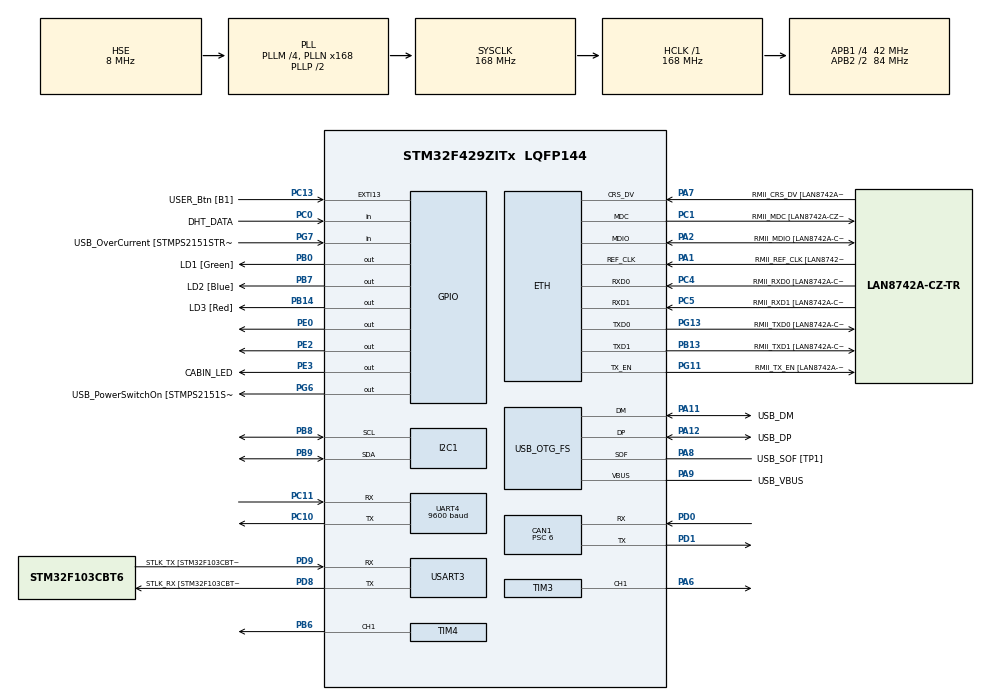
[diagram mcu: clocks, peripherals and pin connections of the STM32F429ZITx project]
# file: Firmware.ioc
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CAN1.BS1=CAN_BS1_11TQ
CAN1.BS2=CAN_BS2_2TQ
CAN1.CalculateBaudRate=500000
CAN1.CalculateTimeBit=2000
CAN1.CalculateTimeQuantum=142.85714285714286
CAN1.Prescaler=6
ETH.MediaInterface=HAL_ETH_RMII_MODE
ETH.PHY_Name=LAN8742A_PHY_ADDRESS
ETH.PHY_Value=0
ETH.PhyAddress=0
Mcu.Family=STM32F4
Mcu.Name=STM32F429ZITx
Mcu.Package=LQFP144
NVIC.CAN1_RX0_IRQn=true\:0\:0\:false\:false\:true\:true\:true\:true
NVIC.PriorityGroup=NVIC_PRIORITYGROUP_4
NVIC.UART4_IRQn=true\:0\:0\:false\:false\:true\:true\:true\:true
PA1.GPIO_Label=RMII_REF_CLK [LAN8742A-CZ-TR_REFCLK0]
PA1.Mode=RMII
PA1.Signal=ETH_REF_CLK
PA10.GPIO_Label=USB_ID
PA10.Signal=USB_OTG_FS_ID
PA11.GPIO_Label=USB_DM
PA11.Mode=Device_Only
PA11.Signal=USB_OTG_FS_DM
PA12.GPIO_Label=USB_DP
PA12.Mode=Device_Only
PA12.Signal=USB_OTG_FS_DP
PA13.GPIO_Label=TMS
PA13.Mode=Serial_Wire
PA13.Signal=SYS_JTMS-SWDIO
PA14.GPIO_Label=TCK
PA14.Mode=Serial_Wire
PA14.Signal=SYS_JTCK-SWCLK
PA2.GPIO_Label=RMII_MDIO [LAN8742A-CZ-TR_MDIO]
PA2.Mode=RMII
PA2.Signal=ETH_MDIO
PA6.Signal=S_TIM3_CH1
PA7.GPIO_Label=RMII_CRS_DV [LAN8742A-CZ-TR_CRS_DV]
PA7.Mode=RMII
PA7.Signal=ETH_CRS_DV
PA8.GPIO_Label=USB_SOF [TP1]
PA8.Mode=Activate_SOF_FS
PA8.Signal=USB_OTG_FS_SOF
PA9.GPIO_Label=USB_VBUS
PA9.Mode=Activate_VBUS
PA9.Signal=USB_OTG_FS_VBUS
PB0.GPIO_Label=LD1 [Green]
PB0.Signal=GPIO_Output
PB13.GPIO_Label=RMII_TXD1 [LAN8742A-CZ-TR_TXD1]
PB13.Mode=RMII
PB13.Signal=ETH_TXD1
PB14.GPIO_Label=LD3 [Red]
PB14.Signal=GPIO_Output
PB6.Signal=S_TIM4_CH1
PB7.GPIO_Label=LD2 [Blue]
PB7.Signal=GPIO_Output
PB8.Mode=I2C
PB8.Signal=I2C1_SCL
PB9.Mode=I2C
PB9.Signal=I2C1_SDA
PC0.GPIO_Label=DHT_DATA
PC0.GPIO_PuPd=GPIO_PULLUP
PC0.Signal=GPIO_Input
PC1.GPIO_Label=RMII_MDC [LAN8742A-CZ-TR_MDC]
PC1.Mode=RMII
PC1.Signal=ETH_MDC
PC10.Mode=Asynchronous
PC10.Signal=UART4_TX
PC11.Mode=Asynchronous
PC11.Signal=UART4_RX
PC13.GPIO_Label=USER_Btn [B1]
PC13.Signal=GPXTI13
PC14/OSC32_IN.Mode=LSE-External-Oscillator
PC14/OSC32_IN.Signal=RCC_OSC32_IN
PC15/OSC32_OUT.Mode=LSE-External-Oscillator
PC15/OSC32_OUT.Signal=RCC_OSC32_OUT
PC4.GPIO_Label=RMII_RXD0 [LAN8742A-CZ-TR_RXD0]
PC4.Mode=RMII
PC4.Signal=ETH_RXD0
PC5.GPIO_Label=RMII_RXD1 [LAN8742A-CZ-TR_RXD1]
PC5.Mode=RMII
PC5.Signal=ETH_RXD1
PD0.Mode=CAN_Activate
PD0.Signal=CAN1_RX
PD1.Mode=CAN_Activate
PD1.Signal=CAN1_TX
PD8.GPIO_Label=STLK_RX [STM32F103CBT6_PA3]
PD8.Mode=Asynchronous
PD8.Signal=USART3_TX
PD9.GPIO_Label=STLK_TX [STM32F103CBT6_PA2]
PD9.Mode=Asynchronous
PD9.Signal=USART3_RX
PE0.Signal=GPIO_Output
PE2.Signal=GPIO_Output
PE3.GPIO_Label=CABIN_LED
PE3.Signal=GPIO_Output
PG11.GPIO_Label=RMII_TX_EN [LAN8742A-CZ-TR_TXEN]
PG11.Mode=RMII
PG11.Signal=ETH_TX_EN
PG13.GPIO_Label=RMII_TXD0 [LAN8742A-CZ-TR_TXD0]
PG13.Mode=RMII
PG13.Signal=ETH_TXD0
PG6.GPIO_Label=USB_PowerSwitchOn [STMPS2151STR_EN]
PG6.Signal=GPIO_Output
PG7.GPIO_Label=USB_OverCurrent [STMPS2151STR_FAULT]
PG7.Signal=GPIO_Input
PH0/OSC_IN.GPIO_Label=MCO [STM32F103CBT6_PA8]
PH0/OSC_IN.Mode=HSE-External-Clock-Source
PH0/OSC_IN.Signal=RCC_OSC_IN
PH1/OSC_OUT.Mode=HSE-External-Clock-Source
PH1/OSC_OUT.Signal=RCC_OSC_OUT
ProjectManager.HeapSize=0x200
ProjectManager.StackSize=0x400
ProjectManager.TargetToolchain=STM32CubeIDE
RCC.48MHZClocksFreq_Value=48000000
RCC.AHBFreq_Value=168000000
RCC.APB1CLKDivider=RCC_HCLK_DIV4
RCC.APB1Freq_Value=42000000
RCC.APB1TimFreq_Value=84000000
RCC.APB2CLKDivider=RCC_HCLK_DIV2
RCC.APB2Freq_Value=84000000
RCC.APB2TimCLKDivider=2
RCC.APB2TimFreq_Value=168000000
RCC.CortexFreq_Value=168000000
RCC.HCLKFreq_Value=168000000
RCC.HSE_VALUE=8000000
RCC.HSI_VALUE=16000000
RCC.PLLM=4
RCC.PLLMUL=RCC_PLL_MUL9
RCC.PLLN=168
RCC.PLLQ=7
RCC.PRESCALERUSB=RCC_USBCLKSOURCE_PLL_DIV1_5
RCC.SYSCLKFreq_VALUE=168000000
RCC.SYSCLKSource=RCC_SYSCLKSOURCE_PLLCLK
RCC.SYSCLKSourceVirtual=RCC_SYSCLKSOURCE_PLLCLK
RCC.USBFreq_Value=48000000
RCC.VCOOutputFreq_Value=336000000
SH.S_TIM3_CH1.0=TIM3_CH1,PWM Generation1 CH1
SH.S_TIM4_CH1.0=TIM4_CH1,PWM Generation1 CH1
TIM3.Channel-PWM\ Generation1\ CH1=TIM_CHANNEL_1
TIM3.Period=3359
TIM4.Channel-PWM\ Generation1\ CH1=TIM_CHANNEL_1
TIM4.Period=999
TIM4.Prescaler=83
UART4.BaudRate=9600
UART4.VirtualMode=Asynchronous
USART3.VirtualMode=VM_ASYNC
USB_OTG_FS.VirtualMode=Device_Only
VP_TIM3_VS_ClockSourceINT.Mode=Internal
VP_TIM4_VS_ClockSourceINT.Mode=Internal
board=NUCLEO-F429ZI

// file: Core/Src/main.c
/* USER CODE BEGIN Header */
/**
  ******************************************************************************
  * @file           : main.c
  * @brief          : Main program body
  ******************************************************************************
  * @attention
  *
  * Copyright (c) 2026 STMicroelectronics.
  * All rights reserved.
  *
  * This software is licensed under terms that can be found in the LICENSE file
  * in the root directory of this software component.
  * If no LICENSE file comes with this software, it is provided AS-IS.
  *
  ******************************************************************************
  */
/* USER CODE END Header */
#include "main.h"
#include "string.h"

/* USER CODE BEGIN Includes */
#include "fw_common.h"
#include "fw_can.h"
#include "fw_sensor.h"
#include "fw_control.h"
#include "bsp_fw.h"
/* USER CODE END Includes */

/* USER CODE BEGIN PD */
#define INTERVAL_DHT_MS         2000u
#define INTERVAL_FAN_MS          500u
#define INTERVAL_BH1750_MS       500u
#define INTERVAL_PMS_MS         2000u
#define INTERVAL_SEAT_MS         100u
#define INTERVAL_LIGHT_MS        500u
#define INTERVAL_CAN_TX_MS      2000u
#define INTERVAL_STATUS_MS       500u

/* [MOD] 통합 시연 빌드: 로컬 테스트 모드 OFF.
 * 1로 두면 FW_TEST_CASE에 따라 CAN 수신값을 무시하고 상태를 강제 주입하므로
 * 통합 테스트 전 반드시 0인지 확인할 것. */
#define FW_LOCAL_TEST_MODE  0u
#define FW_TEST_CASE        0u
/* USER CODE END PD */

ETH_TxPacketConfig TxConfig;
ETH_DMADescTypeDef  DMARxDscrTab[ETH_RX_DESC_CNT]; /* Ethernet Rx DMA Descriptors */
ETH_DMADescTypeDef  DMATxDscrTab[ETH_TX_DESC_CNT]; /* Ethernet Tx DMA Descriptors */

CAN_HandleTypeDef hcan1;

ETH_HandleTypeDef heth;

I2C_HandleTypeDef hi2c1;

TIM_HandleTypeDef htim3;
TIM_HandleTypeDef htim4;

UART_HandleTypeDef huart4;
UART_HandleTypeDef huart3;

PCD_HandleTypeDef hpcd_USB_OTG_FS;

/* USER CODE BEGIN PV */
volatile FW_SharedData_t g_fw = {0};
/* USER CODE END PV */

void SystemClock_Config(void);
static void MX_GPIO_Init(void);
static void MX_ETH_Init(void);
static void MX_USART3_UART_Init(void);
static void MX_USB_OTG_FS_PCD_Init(void);
static void MX_I2C1_Init(void);
static void MX_TIM3_Init(void);
static void MX_UART4_Init(void);
static void MX_TIM4_Init(void);
static void MX_CAN1_Init(void);

int main(void)
{

  /* MCU Configuration--------------------------------------------------------*/

  /* Reset of all peripherals, Initializes the Flash interface and the Systick. */
	HAL_Init();

  /* Configure the system clock */
  SystemClock_Config();

  /* Initialize all configured peripherals */
  MX_GPIO_Init();
  MX_ETH_Init();
  MX_USART3_UART_Init();
  MX_USB_OTG_FS_PCD_Init();
  MX_I2C1_Init();
  MX_TIM3_Init();
  MX_UART4_Init();
  MX_TIM4_Init();
  MX_CAN1_Init();
  /* USER CODE BEGIN 2 */
  FW_Sensor_Init();

  HAL_TIM_PWM_Start(&htim3, TIM_CHANNEL_1);      /* 팬: 25kHz */
  HAL_TIM_PWM_Start(&htim4, TIM_CHANNEL_1);      /* 좌석: 1kHz */

  BSP_PWM_Fan_SetDuty(0u);
  BSP_Seat_Stop();
  BSP_GPIO_LED_Cabin_Write(0u);

  g_fw.temp_target_x10         = FAN_TARGET_TEMP_X10;
  g_fw.light_lux_threshold_x10 = LIGHT_THRESHOLD_X10;
  g_fw.fan_mode                = FAN_AUTO;
  g_fw.ignition_state          = IGN_OFF;
  g_fw.operation_state         = OP_STANDBY;

  /* 기본값 설정 후 CAN 필터와 수신 인터럽트를 활성화한다. */
  FW_CAN_Init();

#if FW_LOCAL_TEST_MODE

#if FW_TEST_CASE == 1u
  /* RUNNING: 팬·LED·좌석 시험 */
  g_fw.ignition_state  = IGN_ON;
  g_fw.operation_state = OP_RUNNING;

  g_fw.fan_mode         = FAN_MANUAL;
  g_fw.fan_manual_level = 2u;

  g_fw.light_mode = 0u;
  g_fw.light_on   = 1u;

  g_fw.seat_cmd_seq++;
  g_fw.seat_direction   = 1u;
  g_fw.seat_pwm_duty    = 40u;
  g_fw.seat_duration_ms = 1000u;
  g_fw.seat_cmd_seq++;

#elif FW_TEST_CASE == 2u
  /* PARKING + PIR 시험 */
  g_fw.ignition_state  = IGN_OFF;
  g_fw.operation_state = OP_PARKING;
  g_fw.ignition_state  = IGN_OFF;
  g_fw.operation_state = OP_PARKING;

#elif FW_TEST_CASE == 3u
  /* ALARM 시험 */
  g_fw.ignition_state  = IGN_OFF;
  g_fw.operation_state = OP_ALARM;

#elif FW_TEST_CASE == 4u
  /* 승하차 상태 시험 */
  g_fw.ignition_state  = IGN_ON;
  g_fw.operation_state = OP_STOPPED_BOARDING;
  g_fw.fan_mode        = FAN_AUTO;

#endif
#endif

  /* DHT22 전원 안정화 */
  HAL_Delay(2000u);

  /* USER CODE BEGIN 2 */
  FW_Sensor_Init();

  HAL_TIM_PWM_Start(&htim3, TIM_CHANNEL_1);
  HAL_TIM_PWM_Start(&htim4, TIM_CHANNEL_1);

  BSP_PWM_Fan_SetDuty(0u);
  BSP_Seat_Stop();
  BSP_GPIO_LED_Cabin_Write(0u);

  /* USER CODE END 2 */

  /* Infinite loop */
  /* USER CODE BEGIN WHILE */
  uint32_t tick_dht    = 0u;
  uint32_t tick_fan    = 0u;
  uint32_t tick_bh     = 0u;
  uint32_t tick_pms    = 0u;
  uint32_t tick_seat   = 0u;
  uint32_t tick_light  = 0u;
  uint32_t tick_can_tx = 0u;
  uint32_t tick_status = 0u;

  while (1)
  {
    /* USER CODE END WHILE */

    /* USER CODE BEGIN 3 */

    uint32_t now = HAL_GetTick();

    if ((now - tick_dht) >= INTERVAL_DHT_MS)
    {
      FW_DHT22_Update();
      tick_dht = now;
    }

    if ((now - tick_fan) >= INTERVAL_FAN_MS)
    {
      FW_FanControl_Update();
      tick_fan = now;
    }

    if ((now - tick_bh) >= INTERVAL_BH1750_MS)
    {
      FW_BH1750_Update();
      tick_bh = now;
    }

    if ((now - tick_pms) >= INTERVAL_PMS_MS)
    {
      FW_PMS7003_Update();
      tick_pms = now;
    }

    if ((now - tick_seat) >= INTERVAL_SEAT_MS)
    {
      FW_SeatControl_Update();
      tick_seat = now;
    }

    if ((now - tick_light) >= INTERVAL_LIGHT_MS)
    {
      FW_LightControl_Update();
      tick_light = now;
    }

    if ((now - tick_can_tx) >= INTERVAL_CAN_TX_MS)
    {
      FW_CAN_SendEnv();
      FW_CAN_SendDust();
      tick_can_tx = now;
    }

    if ((now - tick_status) >= INTERVAL_STATUS_MS)
    {
      FW_CAN_SendStatus();
      tick_status = now;
    }

  }
  /* USER CODE END 3 */
}

void SystemClock_Config(void)
{
  RCC_OscInitTypeDef RCC_OscInitStruct = {0};
  RCC_ClkInitTypeDef RCC_ClkInitStruct = {0};

  /** Configure the main internal regulator output voltage
  */
  __HAL_RCC_PWR_CLK_ENABLE();
  __HAL_PWR_VOLTAGESCALING_CONFIG(PWR_REGULATOR_VOLTAGE_SCALE1);

  /** Initializes the RCC Oscillators according to the specified parameters
  * in the RCC_OscInitTypeDef structure.
  */
  RCC_OscInitStruct.OscillatorType = RCC_OSCILLATORTYPE_HSE;
  RCC_OscInitStruct.HSEState = RCC_HSE_BYPASS;
  RCC_OscInitStruct.PLL.PLLState = RCC_PLL_ON;
  RCC_OscInitStruct.PLL.PLLSource = RCC_PLLSOURCE_HSE;
  RCC_OscInitStruct.PLL.PLLM = 4;
  RCC_OscInitStruct.PLL.PLLN = 168;
  RCC_OscInitStruct.PLL.PLLP = RCC_PLLP_DIV2;
  RCC_OscInitStruct.PLL.PLLQ = 7;
  if (HAL_RCC_OscConfig(&RCC_OscInitStruct) != HAL_OK)
  {
    Error_Handler();
  }

  /** Initializes the CPU, AHB and APB buses clocks
  */
  RCC_ClkInitStruct.ClockType = RCC_CLOCKTYPE_HCLK|RCC_CLOCKTYPE_SYSCLK
                              |RCC_CLOCKTYPE_PCLK1|RCC_CLOCKTYPE_PCLK2;
  RCC_ClkInitStruct.SYSCLKSource = RCC_SYSCLKSOURCE_PLLCLK;
  RCC_ClkInitStruct.AHBCLKDivider = RCC_SYSCLK_DIV1;
  RCC_ClkInitStruct.APB1CLKDivider = RCC_HCLK_DIV4;
  RCC_ClkInitStruct.APB2CLKDivider = RCC_HCLK_DIV2;

  if (HAL_RCC_ClockConfig(&RCC_ClkInitStruct, FLASH_LATENCY_5) != HAL_OK)
  {
    Error_Handler();
  }
}

static void MX_CAN1_Init(void)
{

  hcan1.Instance = CAN1;
  hcan1.Init.Prescaler = 6;
  hcan1.Init.Mode = CAN_MODE_NORMAL;
  hcan1.Init.SyncJumpWidth = CAN_SJW_1TQ;
  hcan1.Init.TimeSeg1 = CAN_BS1_11TQ;
  hcan1.Init.TimeSeg2 = CAN_BS2_2TQ;
  hcan1.Init.TimeTriggeredMode = DISABLE;
  /* 부팅 순서 문제(코드 관점) 완화 - RTOS 보드와 동일한 변경:
     - AutoBusOff=ENABLE : F/W가 RPi4보다 먼저 켜져 ACK 없이 송신하다 bus-off에 빠져도
       자동으로 복구한다.
     - AutoRetransmission=ENABLE : ACK 실패한 프레임을 자동 재전송한다. */
  hcan1.Init.AutoBusOff = ENABLE;
  hcan1.Init.AutoWakeUp = DISABLE;
  hcan1.Init.AutoRetransmission = ENABLE;
  hcan1.Init.ReceiveFifoLocked = DISABLE;
  hcan1.Init.TransmitFifoPriority = DISABLE;
  if (HAL_CAN_Init(&hcan1) != HAL_OK)
  {
    Error_Handler();
  }

}

static void MX_ETH_Init(void)
{

   static uint8_t MACAddr[6];

  heth.Instance = ETH;
  MACAddr[0] = 0x00;
  MACAddr[1] = 0x80;
  MACAddr[2] = 0xE1;
  MACAddr[3] = 0x00;
  MACAddr[4] = 0x00;
  MACAddr[5] = 0x00;
  heth.Init.MACAddr = &MACAddr[0];
  heth.Init.MediaInterface = HAL_ETH_RMII_MODE;
  heth.Init.TxDesc = DMATxDscrTab;
  heth.Init.RxDesc = DMARxDscrTab;
  heth.Init.RxBuffLen = 1524;

  if (HAL_ETH_Init(&heth) != HAL_OK)
  {
    Error_Handler();
  }

  memset(&TxConfig, 0 , sizeof(ETH_TxPacketConfig));
  TxConfig.Attributes = ETH_TX_PACKETS_FEATURES_CSUM | ETH_TX_PACKETS_FEATURES_CRCPAD;
  TxConfig.ChecksumCtrl = ETH_CHECKSUM_IPHDR_PAYLOAD_INSERT_PHDR_CALC;
  TxConfig.CRCPadCtrl = ETH_CRC_PAD_INSERT;

}

static void MX_I2C1_Init(void)
{

  hi2c1.Instance = I2C1;
  hi2c1.Init.ClockSpeed = 100000;
  hi2c1.Init.DutyCycle = I2C_DUTYCYCLE_2;
  hi2c1.Init.OwnAddress1 = 0;
  hi2c1.Init.AddressingMode = I2C_ADDRESSINGMODE_7BIT;
  hi2c1.Init.DualAddressMode = I2C_DUALADDRESS_DISABLE;
  hi2c1.Init.OwnAddress2 = 0;
  hi2c1.Init.GeneralCallMode = I2C_GENERALCALL_DISABLE;
  hi2c1.Init.NoStretchMode = I2C_NOSTRETCH_DISABLE;
  if (HAL_I2C_Init(&hi2c1) != HAL_OK)
  {
    Error_Handler();
  }

  /** Configure Analogue filter
  */
  if (HAL_I2CEx_ConfigAnalogFilter(&hi2c1, I2C_ANALOGFILTER_ENABLE) != HAL_OK)
  {
    Error_Handler();
  }

  /** Configure Digital filter
  */
  if (HAL_I2CEx_ConfigDigitalFilter(&hi2c1, 0) != HAL_OK)
  {
    Error_Handler();
  }

}

static void MX_TIM3_Init(void)
{

  TIM_ClockConfigTypeDef sClockSourceConfig = {0};
  TIM_MasterConfigTypeDef sMasterConfig = {0};
  TIM_OC_InitTypeDef sConfigOC = {0};

  htim3.Instance = TIM3;
  htim3.Init.Prescaler = 0;
  htim3.Init.CounterMode = TIM_COUNTERMODE_UP;
  htim3.Init.Period = 3359;
  htim3.Init.ClockDivision = TIM_CLOCKDIVISION_DIV1;
  htim3.Init.AutoReloadPreload = TIM_AUTORELOAD_PRELOAD_DISABLE;
  if (HAL_TIM_Base_Init(&htim3) != HAL_OK)
  {
    Error_Handler();
  }
  sClockSourceConfig.ClockSource = TIM_CLOCKSOURCE_INTERNAL;
  if (HAL_TIM_ConfigClockSource(&htim3, &sClockSourceConfig) != HAL_OK)
  {
    Error_Handler();
  }
  if (HAL_TIM_PWM_Init(&htim3) != HAL_OK)
  {
    Error_Handler();
  }
  sMasterConfig.MasterOutputTrigger = TIM_TRGO_RESET;
  sMasterConfig.MasterSlaveMode = TIM_MASTERSLAVEMODE_DISABLE;
  if (HAL_TIMEx_MasterConfigSynchronization(&htim3, &sMasterConfig) != HAL_OK)
  {
    Error_Handler();
  }
  sConfigOC.OCMode = TIM_OCMODE_PWM1;
  sConfigOC.Pulse = 0;
  sConfigOC.OCPolarity = TIM_OCPOLARITY_HIGH;
  sConfigOC.OCFastMode = TIM_OCFAST_DISABLE;
  if (HAL_TIM_PWM_ConfigChannel(&htim3, &sConfigOC, TIM_CHANNEL_1) != HAL_OK)
  {
    Error_Handler();
  }
  HAL_TIM_MspPostInit(&htim3);

}

static void MX_TIM4_Init(void)
{

  TIM_ClockConfigTypeDef sClockSourceConfig = {0};
  TIM_MasterConfigTypeDef sMasterConfig = {0};
  TIM_OC_InitTypeDef sConfigOC = {0};

  htim4.Instance = TIM4;
  htim4.Init.Prescaler = 83;
  htim4.Init.CounterMode = TIM_COUNTERMODE_UP;
  htim4.Init.Period = 999;
  htim4.Init.ClockDivision = TIM_CLOCKDIVISION_DIV1;
  htim4.Init.AutoReloadPreload = TIM_AUTORELOAD_PRELOAD_DISABLE;
  if (HAL_TIM_Base_Init(&htim4) != HAL_OK)
  {
    Error_Handler();
  }
  sClockSourceConfig.ClockSource = TIM_CLOCKSOURCE_INTERNAL;
  if (HAL_TIM_ConfigClockSource(&htim4, &sClockSourceConfig) != HAL_OK)
  {
    Error_Handler();
  }
  if (HAL_TIM_PWM_Init(&htim4) != HAL_OK)
  {
    Error_Handler();
  }
  sMasterConfig.MasterOutputTrigger = TIM_TRGO_RESET;
  sMasterConfig.MasterSlaveMode = TIM_MASTERSLAVEMODE_DISABLE;
  if (HAL_TIMEx_MasterConfigSynchronization(&htim4, &sMasterConfig) != HAL_OK)
  {
    Error_Handler();
  }
  sConfigOC.OCMode = TIM_OCMODE_PWM1;
  sConfigOC.Pulse = 0;
  sConfigOC.OCPolarity = TIM_OCPOLARITY_HIGH;
  sConfigOC.OCFastMode = TIM_OCFAST_DISABLE;
  if (HAL_TIM_PWM_ConfigChannel(&htim4, &sConfigOC, TIM_CHANNEL_1) != HAL_OK)
  {
    Error_Handler();
  }
  HAL_TIM_MspPostInit(&htim4);

}

static void MX_UART4_Init(void)
{

  huart4.Instance = UART4;
  huart4.Init.BaudRate = 9600;
  huart4.Init.WordLength = UART_WORDLENGTH_8B;
  huart4.Init.StopBits = UART_STOPBITS_1;
  huart4.Init.Parity = UART_PARITY_NONE;
  huart4.Init.Mode = UART_MODE_TX_RX;
  huart4.Init.HwFlowCtl = UART_HWCONTROL_NONE;
  huart4.Init.OverSampling = UART_OVERSAMPLING_16;
  if (HAL_UART_Init(&huart4) != HAL_OK)
  {
    Error_Handler();
  }

}

static void MX_USART3_UART_Init(void)
{

  huart3.Instance = USART3;
  huart3.Init.BaudRate = 115200;
  huart3.Init.WordLength = UART_WORDLENGTH_8B;
  huart3.Init.StopBits = UART_STOPBITS_1;
  huart3.Init.Parity = UART_PARITY_NONE;
  huart3.Init.Mode = UART_MODE_TX_RX;
  huart3.Init.HwFlowCtl = UART_HWCONTROL_NONE;
  huart3.Init.OverSampling = UART_OVERSAMPLING_16;
  if (HAL_UART_Init(&huart3) != HAL_OK)
  {
    Error_Handler();
  }

}

static void MX_USB_OTG_FS_PCD_Init(void)
{

  hpcd_USB_OTG_FS.Instance = USB_OTG_FS;
  hpcd_USB_OTG_FS.Init.dev_endpoints = 4;
  hpcd_USB_OTG_FS.Init.speed = PCD_SPEED_FULL;
  hpcd_USB_OTG_FS.Init.dma_enable = DISABLE;
  hpcd_USB_OTG_FS.Init.phy_itface = PCD_PHY_EMBEDDED;
  hpcd_USB_OTG_FS.Init.Sof_enable = ENABLE;
  hpcd_USB_OTG_FS.Init.low_power_enable = DISABLE;
  hpcd_USB_OTG_FS.Init.lpm_enable = DISABLE;
  hpcd_USB_OTG_FS.Init.vbus_sensing_enable = ENABLE;
  hpcd_USB_OTG_FS.Init.use_dedicated_ep1 = DISABLE;
  if (HAL_PCD_Init(&hpcd_USB_OTG_FS) != HAL_OK)
  {
    Error_Handler();
  }

}

static void MX_GPIO_Init(void)
{
  GPIO_InitTypeDef GPIO_InitStruct = {0};

  /* GPIO Ports Clock Enable */
  __HAL_RCC_GPIOE_CLK_ENABLE();
  __HAL_RCC_GPIOC_CLK_ENABLE();
  __HAL_RCC_GPIOH_CLK_ENABLE();
  __HAL_RCC_GPIOA_CLK_ENABLE();
  __HAL_RCC_GPIOB_CLK_ENABLE();
  __HAL_RCC_GPIOD_CLK_ENABLE();
  __HAL_RCC_GPIOG_CLK_ENABLE();

  /*Configure GPIO pin Output Level */
  HAL_GPIO_WritePin(GPIOE, GPIO_PIN_2|CABIN_LED_Pin|GPIO_PIN_0, GPIO_PIN_RESET);

  /*Configure GPIO pin Output Level */
  HAL_GPIO_WritePin(GPIOB, LD1_Pin|LD3_Pin|LD2_Pin, GPIO_PIN_RESET);

  /*Configure GPIO pin Output Level */
  HAL_GPIO_WritePin(USB_PowerSwitchOn_GPIO_Port, USB_PowerSwitchOn_Pin, GPIO_PIN_RESET);

  /*Configure GPIO pins : PE2 CABIN_LED_Pin PE0 */
  GPIO_InitStruct.Pin = GPIO_PIN_2|CABIN_LED_Pin|GPIO_PIN_0;
  GPIO_InitStruct.Mode = GPIO_MODE_OUTPUT_PP;
  GPIO_InitStruct.Pull = GPIO_NOPULL;
  GPIO_InitStruct.Speed = GPIO_SPEED_FREQ_LOW;
  HAL_GPIO_Init(GPIOE, &GPIO_InitStruct);

  /*Configure GPIO pin : USER_Btn_Pin */
  GPIO_InitStruct.Pin = USER_Btn_Pin;
  GPIO_InitStruct.Mode = GPIO_MODE_IT_RISING;
  GPIO_InitStruct.Pull = GPIO_NOPULL;
  HAL_GPIO_Init(USER_Btn_GPIO_Port, &GPIO_InitStruct);

  /*Configure GPIO pin : DHT_DATA_Pin */
  GPIO_InitStruct.Pin = DHT_DATA_Pin;
  GPIO_InitStruct.Mode = GPIO_MODE_INPUT;
  GPIO_InitStruct.Pull = GPIO_PULLUP;
  HAL_GPIO_Init(DHT_DATA_GPIO_Port, &GPIO_InitStruct);

  /*Configure GPIO pins : LD1_Pin LD3_Pin LD2_Pin */
  GPIO_InitStruct.Pin = LD1_Pin|LD3_Pin|LD2_Pin;
  GPIO_InitStruct.Mode = GPIO_MODE_OUTPUT_PP;
  GPIO_InitStruct.Pull = GPIO_NOPULL;
  GPIO_InitStruct.Speed = GPIO_SPEED_FREQ_LOW;
  HAL_GPIO_Init(GPIOB, &GPIO_InitStruct);

  /*Configure GPIO pin : USB_PowerSwitchOn_Pin */
  GPIO_InitStruct.Pin = USB_PowerSwitchOn_Pin;
  GPIO_InitStruct.Mode = GPIO_MODE_OUTPUT_PP;
  GPIO_InitStruct.Pull = GPIO_NOPULL;
  GPIO_InitStruct.Speed = GPIO_SPEED_FREQ_LOW;
  HAL_GPIO_Init(USB_PowerSwitchOn_GPIO_Port, &GPIO_InitStruct);

  /*Configure GPIO pin : USB_OverCurrent_Pin */
  GPIO_InitStruct.Pin = USB_OverCurrent_Pin;
  GPIO_InitStruct.Mode = GPIO_MODE_INPUT;
  GPIO_InitStruct.Pull = GPIO_NOPULL;
  HAL_GPIO_Init(USB_OverCurrent_GPIO_Port, &GPIO_InitStruct);

}

void Error_Handler(void)
{
  __disable_irq();
  while (1)
  {
  }
}
